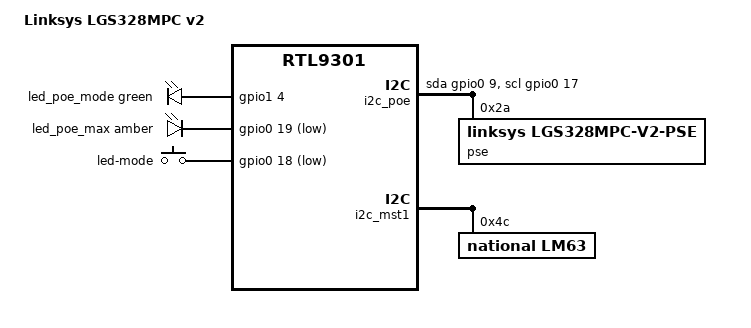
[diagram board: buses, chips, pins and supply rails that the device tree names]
// SPDX-License-Identifier: (GPL-2.0-or-later or MIT)
/dts-v1/;

#include "rtl9301_linksys_lgs328x_nand_common.dtsi"

#include <dt-bindings/input/input.h>
#include <dt-bindings/leds/common.h>

/ {
	compatible = "linksys,lgs328mpc-v2", "realtek,rtl9301-soc";
	model = "Linksys LGS328MPC v2";

	leds {
		compatible = "gpio-leds";

		led_poe_mode: led-poe-mode {
			function = "poe-mode";
			color = <LED_COLOR_ID_GREEN>;
			gpios = <&gpio1 4 GPIO_ACTIVE_HIGH>;
		};

		led_poe_max: led-poe-max {
			function = "poe-max";
			color = <LED_COLOR_ID_AMBER>;
			gpios = <&gpio0 19 GPIO_ACTIVE_LOW>;
		};
	};

	keys {
		compatible = "gpio-keys";

		led-mode {
			label = "led-mode";
			gpios = <&gpio0 18 GPIO_ACTIVE_LOW>;
			linux,code = <BTN_0>;
			debounce-interval = <60>;
		};
	};

	i2c_poe: i2c-poe {
		compatible = "i2c-gpio";
		sda-gpios = <&gpio0  9 (GPIO_ACTIVE_HIGH | GPIO_OPEN_DRAIN)>;
		scl-gpios = <&gpio0 17 (GPIO_ACTIVE_HIGH | GPIO_OPEN_DRAIN)>;
		i2c-gpio,delay-us = <5>;
		#address-cells = <1>;
		#size-cells = <0>;

		pse: ethernet-pse@2a {
			compatible = "linksys,lgs328mpc-v2-pse", "realtek,pse-mcu-gen2-i2c";
			reg = <0x2a>;

			pse-pis {
				#address-cells = <1>;
				#size-cells = <0>;

				PSE_PI(0)
				PSE_PI(1)
				PSE_PI(2)
				PSE_PI(3)
				PSE_PI(4)
				PSE_PI(5)
				PSE_PI(6)
				PSE_PI(7)
				PSE_PI(8)
				PSE_PI(9)
				PSE_PI(10)
				PSE_PI(11)
				PSE_PI(12)
				PSE_PI(13)
				PSE_PI(14)
				PSE_PI(15)
				PSE_PI(16)
				PSE_PI(17)
				PSE_PI(18)
				PSE_PI(19)
				PSE_PI(20)
				PSE_PI(21)
				PSE_PI(22)
				PSE_PI(23)
			};
		};
	};
};

&i2c_mst1 {
	i2c1: i2c@1 {
		reg = <1>;

		lm63@4c {
			compatible = "national,lm63";
			reg = <0x4c>;
			#thermal-sensor-cells = <1>;
		};
	};
};

&phy0  { pses = <&pse_pi0>; };
&phy1  { pses = <&pse_pi1>; };
&phy2  { pses = <&pse_pi2>; };
&phy3  { pses = <&pse_pi3>; };
&phy4  { pses = <&pse_pi4>; };
&phy5  { pses = <&pse_pi5>; };
&phy6  { pses = <&pse_pi6>; };
&phy7  { pses = <&pse_pi7>; };
&phy8  { pses = <&pse_pi8>; };
&phy9  { pses = <&pse_pi9>; };
&phy10 { pses = <&pse_pi10>; };
&phy11 { pses = <&pse_pi11>; };
&phy12 { pses = <&pse_pi12>; };
&phy13 { pses = <&pse_pi13>; };
&phy14 { pses = <&pse_pi14>; };
&phy15 { pses = <&pse_pi15>; };
&phy16 { pses = <&pse_pi16>; };
&phy17 { pses = <&pse_pi17>; };
&phy18 { pses = <&pse_pi18>; };
&phy19 { pses = <&pse_pi19>; };
&phy20 { pses = <&pse_pi20>; };
&phy21 { pses = <&pse_pi21>; };
&phy22 { pses = <&pse_pi22>; };
&phy23 { pses = <&pse_pi23>; };
